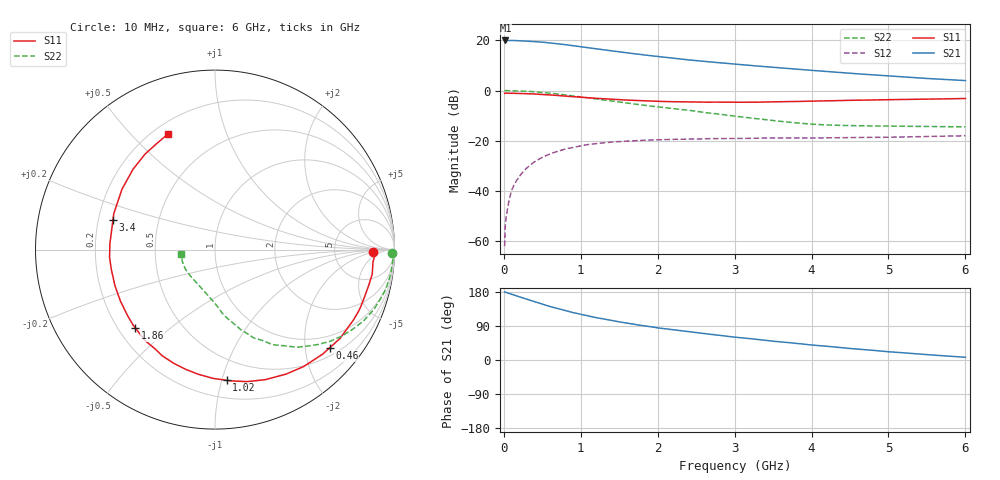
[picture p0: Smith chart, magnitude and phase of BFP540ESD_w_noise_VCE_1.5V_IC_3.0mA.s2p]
! Infineon Technologies  Discrete & RF Semiconductors
! BFP540ESD
! VCE =  1.5 V,  IC =  3.0 mA
! Common Emitter S-Parameters:  Nov 2015
# GHz  S  MA  R  50
!  f  S11  S21  S12  S22
! GHz  MAG  ANG  MAG  ANG  MAG  ANG  MAG  ANG
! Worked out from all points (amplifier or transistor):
!   210 points, 10 MHz to 6 GHz, reference 50 ohm
!   highest |S21| = 19.9 dB at 20 MHz (marker M1)
!   |S21| within 3 dB of that: start of sweep to 1.124 GHz
!   unconditionally stable (mu >= 1): 3.775 GHz to end of sweep
!   at 185 MHz: K = 0.01, MSG = 27.4 dB, |S12| = -34.9 dB
!   at 1.52 GHz: K = 0.35, MSG = 17.8 dB, |S12| = -20.3 dB
!   at 6 GHz: K = 1.32, MAG = 7.6 dB, |S12| = -18.0 dB
!   lowest NFmin = 0.63 dB at 900 MHz
!   S11 on the Smith chart (normalised r, x): 10 MHz: 16, -1; 460 MHz: 0.68, -2.54; 1.02 GHz: 0.33, -1.04; 1.86 GHz: 0.27, -0.38; 3.4 GHz: 0.26, +0.13; 6 GHz: 0.26, +0.64
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0.01  0.8806 -0.7  9.923 179.3  0.0008 84.6  0.9853 -1.2
0.02  0.8905 -2.2  9.928 179.1  0.0022 81.9  1 -1.2
0.07  0.8838 -6.2  9.892 175.5  0.0068 88.0  0.9921 -3.6
0.14  0.8801 -12.4  9.888 171.0  0.0139 82.8  0.989 -7.2
0.3  0.8657 -26.7  9.656 160.2  0.0288 77.5  0.9674 -15.4
0.46  0.841 -40.6  9.28 149.9  0.0435 69.6  0.9295 -23.4
0.5  0.8359 -44.2  9.21 147.3  0.047 68.1  0.9194 -25.4
0.6  0.8176 -52.8  8.844 141.1  0.0549 63.8  0.8874 -29.9
0.76  0.7835 -65.4  8.313 132.5  0.0659 57.5  0.8326 -36.9
0.9  0.7567 -76.4  7.801 125.1  0.0739 52.2  0.7829 -42.4
1.02  0.7312 -84.9  7.376 119.7  0.0807 47.9  0.7405 -46.6
1.2  0.7009 -97.6  6.766 111.8  0.0877 42.2  0.6803 -52.5
1.5  0.6604 -116.5  5.896 100.6  0.0964 34.6  0.5913 -60.8
1.7  0.6395 -127.5  5.406 93.9  0.1008 30.5  0.5396 -66.1
1.86  0.6226 -135.5  5.047 89.2  0.1032 27.8  0.5025 -68.9
2.02  0.6092 -143.5  4.741 84.3  0.105 25.4  0.4706 -72.0
2.58  0.5884 -167.6  3.835 70.2  0.1096 18.5  0.3704 -82.1
3.1  0.585 173.6  3.259 58.4  0.1114 14.2  0.297 -90.5
3.4  0.5921 163.7  2.985 52.0  0.1132 12.2  0.2629 -97.5
4.1  0.6202 144.7  2.456 38.0  0.1141 8.6  0.2104 -119.8
5.1  0.6616 124.7  1.913 20.4  0.1184 5.9  0.1959 -150.0
6  0.6942 112.4  1.579 7.1  0.126 5.4  0.1902 -172.7
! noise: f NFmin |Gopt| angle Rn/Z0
0.9  0.63  0.27  45  0.15
1.8  0.89  0.21  92  0.13
2.4  0.92  0.26  109  0.1
3  1.12  0.29  144  0.09
4  1.37  0.29  -141  0.15
5  1.69  0.42  -108  0.35
6  1.9  0.55  -106  0.52
